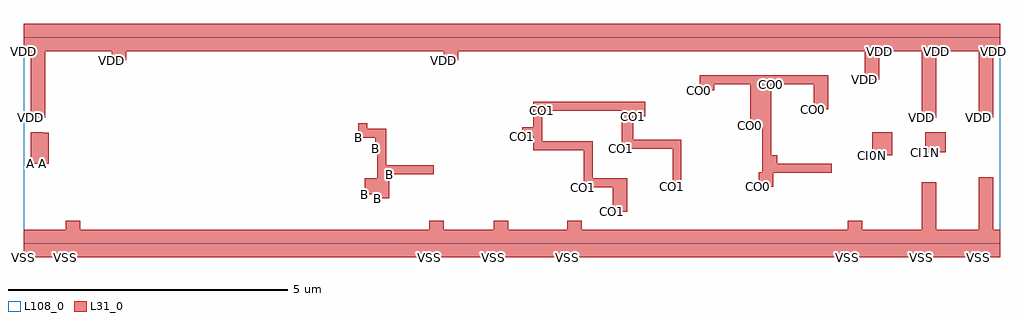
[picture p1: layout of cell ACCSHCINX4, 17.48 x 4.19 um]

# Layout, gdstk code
import gdstk
lib = gdstk.Library(unit=1e-6, precision=1e-09)
def R(c, l, rs):  # rectangles x0, y0, x1, y1
    for r in rs: c.add(gdstk.rectangle(r[:2], r[2:], *l))
L31_0 = (31, 0)
L108_0 = (108, 0)

accshcinx4 = lib.new_cell('ACCSHCINX4')
R(accshcinx4, L31_0, [(0,-0.25,0.75,0.25), (0.75,-0.25,1.01,0.405), (1.01,-0.25,7.26,0.25), (7.26,-0.25,7.52,0.405), (7.52,-0.25,8.41,0.25), (8.41,-0.25,8.67,0.405), (8.67,-0.25,9.73,0.25), (9.73,-0.25,9.99,0.405), (9.99,-0.25,14.755,0.25), (14.755,-0.25,15.015,0.405), (15.015,-0.25,16.075,0.25), (16.075,-0.25,16.335,1.095), (16.335,-0.25,17.095,0.25), (17.095,-0.25,17.355,1.19), (17.355,-0.25,17.48,0.25), (10.545,0.565,10.805,1.165), (6.28,0.81,6.33,1.17), (6.33,0.81,6.49,2.055), (6.49,0.81,6.54,1.405), (6.105,0.88,6.28,1.17), (10.025,1.005,10.185,1.83), (10.185,1.005,10.545,1.165), (11.615,1.015,11.775,1.86), (13.155,1.015,13.225,1.275), (13.225,1.015,13.385,3.015), (13.385,1.015,13.415,1.58), (6.54,1.245,7.335,1.405), (13.415,1.265,13.49,1.58), (13.49,1.265,14.465,1.425), (0.125,1.43,0.335,1.99), (0.335,1.43,0.44,1.985), (15.195,1.585,15.55,1.99), (16.145,1.635,16.505,1.99), (9.125,1.67,9.285,2.54), (9.285,1.67,10.025,1.83), (6.29,1.7,6.33,2.055), (10.705,1.7,10.915,2.54), (10.915,1.7,11.615,1.86), (5.99,1.895,6.15,2.155), (6.15,1.895,6.29,2.055), (8.925,1.92,9.125,2.08), (13.005,2.11,13.225,3.015), (0.125,2.255,0.385,3.94), (16.075,2.255,16.335,3.94), (17.095,2.255,17.355,3.94), (10.915,2.28,11.125,2.54), (9.285,2.38,10.705,2.54), (14.145,2.405,14.405,3.015), (12.105,2.745,12.365,3.015), (12.365,2.855,13.005,3.015), (13.385,2.855,14.145,3.015), (15.055,2.935,15.315,3.94), (1.575,3.285,1.835,3.94), (7.52,3.285,7.78,3.94), (0,3.44,0.125,3.94), (0.385,3.44,1.575,3.94), (1.835,3.44,7.52,3.94), (7.78,3.44,15.055,3.94), (15.315,3.44,16.075,3.94), (16.335,3.44,17.095,3.94), (17.355,3.44,17.48,3.94)])
R(accshcinx4, L108_0, [(0,0,17.48,3.69)])
accshcinx4.add(gdstk.Label('CO1', (8.925,1.92), layer=131, texttype=0))
accshcinx4.add(gdstk.Label('CO1', (9.125,1.67), layer=131, texttype=0))
accshcinx4.add(gdstk.Label('CO1', (9.285,1.67), layer=131, texttype=0))
accshcinx4.add(gdstk.Label('CO1', (10.025,1.005), layer=131, texttype=0))
accshcinx4.add(gdstk.Label('CO1', (10.185,1.005), layer=131, texttype=0))
accshcinx4.add(gdstk.Label('CO1', (9.285,2.38), layer=131, texttype=0))
accshcinx4.add(gdstk.Label('CO1', (10.545,0.565), layer=131, texttype=0))
accshcinx4.add(gdstk.Label('CO1', (10.705,1.7), layer=131, texttype=0))
accshcinx4.add(gdstk.Label('CO1', (10.915,2.28), layer=131, texttype=0))
accshcinx4.add(gdstk.Label('CO1', (10.915,1.7), layer=131, texttype=0))
accshcinx4.add(gdstk.Label('CO1', (11.615,1.015), layer=131, texttype=0))
accshcinx4.add(gdstk.Label('CO0', (12.105,2.745), layer=131, texttype=0))
accshcinx4.add(gdstk.Label('CO0', (12.365,2.855), layer=131, texttype=0))
accshcinx4.add(gdstk.Label('CO0', (13.005,2.11), layer=131, texttype=0))
accshcinx4.add(gdstk.Label('CO0', (13.155,1.015), layer=131, texttype=0))
accshcinx4.add(gdstk.Label('CO0', (13.225,1.015), layer=131, texttype=0))
accshcinx4.add(gdstk.Label('CO0', (13.385,1.015), layer=131, texttype=0))
accshcinx4.add(gdstk.Label('CO0', (13.415,1.265), layer=131, texttype=0))
accshcinx4.add(gdstk.Label('CO0', (13.385,2.855), layer=131, texttype=0))
accshcinx4.add(gdstk.Label('CO0', (14.145,2.405), layer=131, texttype=0))
accshcinx4.add(gdstk.Label('CO0', (13.49,1.265), layer=131, texttype=0))
accshcinx4.add(gdstk.Label('CI1N', (16.145,1.635), layer=131, texttype=0))
accshcinx4.add(gdstk.Label('CI0N', (15.195,1.585), layer=131, texttype=0))
accshcinx4.add(gdstk.Label('B', (5.99,1.895), layer=131, texttype=0))
accshcinx4.add(gdstk.Label('B', (6.105,0.88), layer=131, texttype=0))
accshcinx4.add(gdstk.Label('B', (6.15,1.895), layer=131, texttype=0))
accshcinx4.add(gdstk.Label('B', (6.29,1.7), layer=131, texttype=0))
accshcinx4.add(gdstk.Label('B', (6.28,0.81), layer=131, texttype=0))
accshcinx4.add(gdstk.Label('B', (6.33,0.81), layer=131, texttype=0))
accshcinx4.add(gdstk.Label('B', (6.49,0.81), layer=131, texttype=0))
accshcinx4.add(gdstk.Label('B', (6.54,1.245), layer=131, texttype=0))
accshcinx4.add(gdstk.Label('A', (0.125,1.43), layer=131, texttype=0))
accshcinx4.add(gdstk.Label('A', (0.335,1.43), layer=131, texttype=0))
accshcinx4.add(gdstk.Label('VSS', (0,-0.25), layer=131, texttype=0))
accshcinx4.add(gdstk.Label('VSS', (0.75,-0.25), layer=131, texttype=0))
accshcinx4.add(gdstk.Label('VSS', (1.01,-0.25), layer=131, texttype=0))
accshcinx4.add(gdstk.Label('VSS', (7.26,-0.25), layer=131, texttype=0))
accshcinx4.add(gdstk.Label('VSS', (7.52,-0.25), layer=131, texttype=0))
accshcinx4.add(gdstk.Label('VSS', (8.41,-0.25), layer=131, texttype=0))
accshcinx4.add(gdstk.Label('VSS', (8.67,-0.25), layer=131, texttype=0))
accshcinx4.add(gdstk.Label('VSS', (9.73,-0.25), layer=131, texttype=0))
accshcinx4.add(gdstk.Label('VSS', (9.99,-0.25), layer=131, texttype=0))
accshcinx4.add(gdstk.Label('VSS', (14.755,-0.25), layer=131, texttype=0))
accshcinx4.add(gdstk.Label('VSS', (15.015,-0.25), layer=131, texttype=0))
accshcinx4.add(gdstk.Label('VSS', (16.075,-0.25), layer=131, texttype=0))
accshcinx4.add(gdstk.Label('VSS', (16.335,-0.25), layer=131, texttype=0))
accshcinx4.add(gdstk.Label('VSS', (17.095,-0.25), layer=131, texttype=0))
accshcinx4.add(gdstk.Label('VSS', (17.355,-0.25), layer=131, texttype=0))
accshcinx4.add(gdstk.Label('VDD', (0,3.44), layer=131, texttype=0))
accshcinx4.add(gdstk.Label('VDD', (0.125,2.255), layer=131, texttype=0))
accshcinx4.add(gdstk.Label('VDD', (0.385,3.44), layer=131, texttype=0))
accshcinx4.add(gdstk.Label('VDD', (1.575,3.285), layer=131, texttype=0))
accshcinx4.add(gdstk.Label('VDD', (1.835,3.44), layer=131, texttype=0))
accshcinx4.add(gdstk.Label('VDD', (7.52,3.285), layer=131, texttype=0))
accshcinx4.add(gdstk.Label('VDD', (7.78,3.44), layer=131, texttype=0))
accshcinx4.add(gdstk.Label('VDD', (15.055,2.935), layer=131, texttype=0))
accshcinx4.add(gdstk.Label('VDD', (15.315,3.44), layer=131, texttype=0))
accshcinx4.add(gdstk.Label('VDD', (16.075,2.255), layer=131, texttype=0))
accshcinx4.add(gdstk.Label('VDD', (16.335,3.44), layer=131, texttype=0))
accshcinx4.add(gdstk.Label('VDD', (17.095,2.255), layer=131, texttype=0))
accshcinx4.add(gdstk.Label('VDD', (17.355,3.44), layer=131, texttype=0))

lib.write_gds('ACCSHCINX4.gds')
